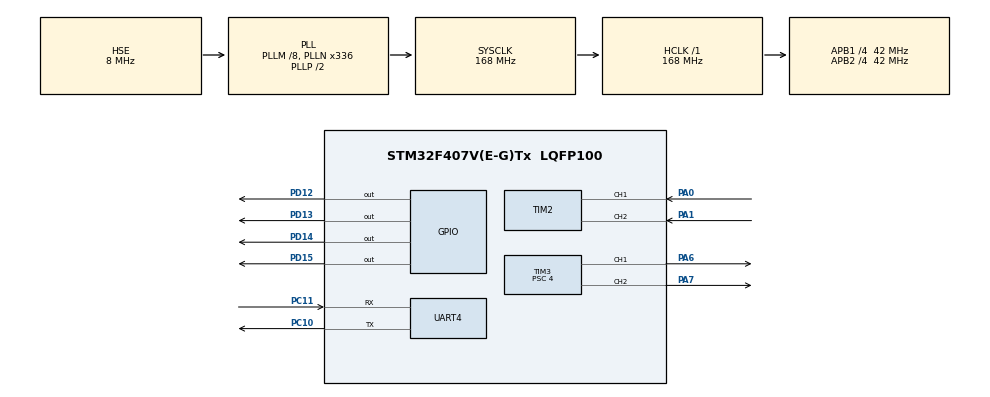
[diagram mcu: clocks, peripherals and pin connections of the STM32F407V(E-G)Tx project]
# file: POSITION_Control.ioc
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Dma.Request0=UART4_RX
Dma.UART4_RX.0.Direction=DMA_PERIPH_TO_MEMORY
Dma.UART4_RX.0.FIFOMode=DMA_FIFOMODE_DISABLE
Dma.UART4_RX.0.Instance=DMA1_Stream2
Dma.UART4_RX.0.MemDataAlignment=DMA_MDATAALIGN_BYTE
Dma.UART4_RX.0.MemInc=DMA_MINC_ENABLE
Dma.UART4_RX.0.Mode=DMA_CIRCULAR
Dma.UART4_RX.0.PeriphDataAlignment=DMA_PDATAALIGN_BYTE
Dma.UART4_RX.0.PeriphInc=DMA_PINC_DISABLE
Dma.UART4_RX.0.Priority=DMA_PRIORITY_LOW
Mcu.Family=STM32F4
Mcu.Name=STM32F407V(E-G)Tx
Mcu.Package=LQFP100
NVIC.DMA1_Stream2_IRQn=true\:0\:0\:false\:false\:true\:false\:true
NVIC.PriorityGroup=NVIC_PRIORITYGROUP_4
NVIC.TIM1_UP_TIM10_IRQn=true\:0\:0\:false\:false\:true\:true\:true
NVIC.UART4_IRQn=true\:0\:0\:false\:false\:true\:true\:true
PA0-WKUP.Signal=S_TIM2_CH1_ETR
PA1.Signal=S_TIM2_CH2
PA13.Mode=Serial_Wire
PA13.Signal=SYS_JTMS-SWDIO
PA14.Mode=Serial_Wire
PA14.Signal=SYS_JTCK-SWCLK
PA6.Signal=S_TIM3_CH1
PA7.Signal=S_TIM3_CH2
PC10.Mode=Asynchronous
PC10.Signal=UART4_TX
PC11.Mode=Asynchronous
PC11.Signal=UART4_RX
PD12.GPIO_PuPd=GPIO_PULLUP
PD12.Signal=GPIO_Output
PD13.GPIO_PuPd=GPIO_PULLUP
PD13.Signal=GPIO_Output
PD14.GPIO_PuPd=GPIO_PULLUP
PD14.Signal=GPIO_Output
PD15.GPIO_PuPd=GPIO_PULLUP
PD15.Signal=GPIO_Output
PH0-OSC_IN.Mode=HSE-External-Oscillator
PH0-OSC_IN.Signal=RCC_OSC_IN
PH1-OSC_OUT.Mode=HSE-External-Oscillator
PH1-OSC_OUT.Signal=RCC_OSC_OUT
ProjectManager.HeapSize=0x200
ProjectManager.StackSize=0x400
ProjectManager.TargetToolchain=MDK-ARM V5.27
RCC.48MHZClocksFreq_Value=84000000
RCC.AHBFreq_Value=168000000
RCC.APB1CLKDivider=RCC_HCLK_DIV4
RCC.APB1Freq_Value=42000000
RCC.APB1TimFreq_Value=84000000
RCC.APB2CLKDivider=RCC_HCLK_DIV4
RCC.APB2Freq_Value=42000000
RCC.APB2TimFreq_Value=84000000
RCC.CortexFreq_Value=168000000
RCC.HCLKFreq_Value=168000000
RCC.HSE_VALUE=8000000
RCC.HSI_VALUE=16000000
RCC.LSE_VALUE=32768
RCC.PLLM=8
RCC.PLLN=336
RCC.PLLSourceVirtual=RCC_PLLSOURCE_HSE
RCC.SYSCLKFreq_VALUE=168000000
RCC.SYSCLKSource=RCC_SYSCLKSOURCE_PLLCLK
RCC.VCOOutputFreq_Value=336000000
SH.S_TIM2_CH1_ETR.0=TIM2_CH1,Encoder_Interface
SH.S_TIM2_CH2.0=TIM2_CH2,Encoder_Interface
SH.S_TIM3_CH1.0=TIM3_CH1,PWM Generation1 CH1
SH.S_TIM3_CH2.0=TIM3_CH2,PWM Generation2 CH2
TIM1.Period=19
TIM1.Prescaler=42000
TIM2.EncoderMode=TIM_ENCODERMODE_TI12
TIM3.Channel-PWM\ Generation1\ CH1=TIM_CHANNEL_1
TIM3.Channel-PWM\ Generation2\ CH2=TIM_CHANNEL_2
TIM3.Period=999
TIM3.Prescaler=4
UART4.VirtualMode=Asynchronous
VP_TIM1_VS_ClockSourceINT.Mode=Internal
board=custom

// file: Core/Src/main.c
/* USER CODE BEGIN Header */
/**
  ******************************************************************************
  * @file           : main.c
  * @brief          : Main program body
  ******************************************************************************
  * @attention
  *
  * <h2><center>&copy; Copyright (c) 2021 STMicroelectronics.
  * All rights reserved.</center></h2>
  *
  * This software component is licensed by ST under BSD 3-Clause license,
  * the "License"; You may not use this file except in compliance with the
  * License. You may obtain a copy of the License at:
  *                        opensource.org/licenses/BSD-3-Clause
  *
  ******************************************************************************
  */
/* USER CODE END Header */
#include "main.h"

/* USER CODE BEGIN Includes */
#include "fuzzy_ctrl.h"
#include "stdio.h"
float Kp=0, Ki=0, Kd=0, set_point=0, config=0, mode = 0;
volatile int16_t count = 0;
volatile float uk = 0, position = 0;
int Value_PWM=0;
uint8_t data[30] = {0,0,0,0,0,0,0,0,0,0,0,0,0,0,0,0,0,0,0,0,0,0,0,0,0,0,0,0,0,0};

extern float data_hlt_e[9];
extern float data_hlt_e_dot[3];
//
extern float data_kp[7];
extern float data_ki[7];
extern float data_kd[7];
//
extern float rule_kp[27];
extern float rule_ki[27];
extern float rule_kd[27];
//
extern float muy_e[9];
extern float muy_e_dot[3];
//
extern float beta[27];

/* USER CODE END Includes */

TIM_HandleTypeDef htim1;
TIM_HandleTypeDef htim2;
TIM_HandleTypeDef htim3;

UART_HandleTypeDef huart4;
DMA_HandleTypeDef hdma_uart4_rx;

/* USER CODE BEGIN PV */
/* Private function prototypes -----------------------------------------------*/
#ifdef __GNUC__
 /* With GCC/RAISONANCE, small printf (option LD Linker->Libraries->Small printf
 set to 'Yes') calls __io_putchar() */
 #define PUTCHAR_PROTOTYPE int __io_putchar(int ch)
#else
 #define PUTCHAR_PROTOTYPE int fputc(int ch, FILE *f)
#endif /* __GNUC__ */

/**
 * @brief Retargets the C library printf function to the USART.
 * @param None
 * @retval None
 */
PUTCHAR_PROTOTYPE
{
 /* Place your implementation of fputc here */
 /* e.g. write a character to the USART */
 HAL_UART_Transmit(&huart4, (uint8_t *)&ch, 1, 100);

 return ch;
}
/* USER CODE END PFP */
/* USER CODE END PV */

void SystemClock_Config(void);
static void MX_GPIO_Init(void);
static void MX_DMA_Init(void);
static void MX_TIM2_Init(void);
static void MX_TIM3_Init(void);
static void MX_UART4_Init(void);
static void MX_TIM1_Init(void);
/* USER CODE BEGIN PFP */
void PWM_generate(float value);
float parameter_compute(char i, uint8_t *data);
float PID_compute(float ref, float yk, float kp, float ki, float kd);
/* USER CODE END PFP */

int main(void)
{

  /* MCU Configuration--------------------------------------------------------*/

  /* Reset of all peripherals, Initializes the Flash interface and the Systick. */
  HAL_Init();

  /* Configure the system clock */
  SystemClock_Config();

  /* Initialize all configured peripherals */
  MX_GPIO_Init();
  MX_DMA_Init();
  MX_TIM2_Init();
  MX_TIM3_Init();
  MX_UART4_Init();
  MX_TIM1_Init();
  /* USER CODE BEGIN 2 */
	HAL_TIM_Base_Start_IT(&htim1);

	HAL_TIM_Encoder_Start(&htim2, TIM_CHANNEL_1);
	HAL_TIM_Encoder_Start(&htim2, TIM_CHANNEL_2);

	HAL_TIM_PWM_Start(&htim3, TIM_CHANNEL_1);
	HAL_TIM_PWM_Start(&htim3, TIM_CHANNEL_2);
	HAL_UART_Receive_DMA(&huart4, data, 30);

	for(char i = 0; i < 30; i++) data[i] += 48;
	char temp = 0;
	double error = 0, error_dot = 0, pre_error = 0;
  /* USER CODE END 2 */

  /* Infinite loop */
  while (1)
  {

    /* USER CODE BEGIN 3 */
		temp++;
		if(temp == 20)
		{
			temp = 0;
			HAL_GPIO_TogglePin(GPIOD ,GPIO_PIN_12);
			HAL_GPIO_TogglePin(GPIOD ,GPIO_PIN_14);
		}

		count = __HAL_TIM_GET_COUNTER(&htim2);
		position = count/4.;

		if(mode == 000)
		{
			//fuzzy compute
			error = set_point - position;
			error_dot = (error - pre_error)/0.01;
			pre_error = error;
			value_hlt_e(data_hlt_e, muy_e, error);
			value_hlt_e_dot(data_hlt_e_dot, muy_e_dot, error_dot);
			find_beta(muy_e, muy_e_dot, beta);
			rule_fuzzy(rule_kp, rule_ki, rule_kd, data_kp, data_ki, data_kd);

			Kp = defuzzy_kp(beta, rule_kp);
			Ki = defuzzy_ki(beta, rule_ki);
			Kd = defuzzy_kd(beta, rule_kd);
		}
		else if(mode == 111)
		{
			Kp = parameter_compute(10, data);
			Ki = parameter_compute(15, data);
			Kd = parameter_compute(20, data);
		}
		printf("%lf|%lf|%lf|%lf|%lf\r\n",position,uk,Kp,Ki,Kd);
		HAL_Delay(10);

		PWM_generate(uk);
  }
  /* USER CODE END 3 */
}

void HAL_UART_RxCpltCallback(UART_HandleTypeDef *huart)
{
	if(huart->Instance==huart4.Instance)
	{
		HAL_GPIO_TogglePin(GPIOD ,GPIO_PIN_13);
		HAL_GPIO_TogglePin(GPIOD ,GPIO_PIN_15);
		//compute value of mode, config and set_point
		mode = parameter_compute(0, data);
		config = parameter_compute(5, data);
		set_point = parameter_compute(25, data);
	}
}

void HAL_TIM_PeriodElapsedCallback(TIM_HandleTypeDef *htim)
{
	if(htim->Instance == htim1.Instance)
	{
		if(config == 000)
		{
			uk = PID_compute(set_point, position, Kp, Ki, Kd);
		}
		else if(config == 111)
		{
			uk = 0;
		}
		else if(config == 001)
		{
			uk = 0;
			count = 0;
			__HAL_TIM_GET_COUNTER(&htim2) = 0;
		}
	}
}

float parameter_compute(char i, uint8_t *data)
{
	float value = (data[0+i]-48)*100 + (data[1+i]-48)*10 + (data[2+i]-48) + (float)(data[3+i]-48)/10 + (float)(data[4+i]-48)/100;
	return value;
}

float PID_compute(float ref, float yk, float kp, float ki, float kd)
{
	static float uk,uk1,ek,ek1,ek2, Tcs = 0.01;
	ek = ref - yk;
	uk = uk1 + kp*(ek - ek1) + ki*Tcs*(ek + ek1)/2 + kd*(ek - 2*ek1 + ek2)/Tcs;
	if(uk>999) uk = 999;
	if(uk<-999) uk = -999;
	uk1 = uk;
  ek2 = ek1;
  ek1 = ek;
	return uk;
}

void PWM_generate(float value)
{
		Value_PWM = (int)(value);
		if(Value_PWM > 0)
		{
			__HAL_TIM_SET_COMPARE(&htim3,TIM_CHANNEL_1,Value_PWM);
			__HAL_TIM_SET_COMPARE(&htim3,TIM_CHANNEL_2,0);
		}
		else if(Value_PWM < 0)
		{
			__HAL_TIM_SET_COMPARE(&htim3,TIM_CHANNEL_1,0);
			__HAL_TIM_SET_COMPARE(&htim3,TIM_CHANNEL_2,-Value_PWM);
		}
		else
		{
			__HAL_TIM_SET_COMPARE(&htim3,TIM_CHANNEL_1,0);
			__HAL_TIM_SET_COMPARE(&htim3,TIM_CHANNEL_2,0);
		}
}

void SystemClock_Config(void)
{
  RCC_OscInitTypeDef RCC_OscInitStruct = {0};
  RCC_ClkInitTypeDef RCC_ClkInitStruct = {0};

  /** Configure the main internal regulator output voltage
  */
  __HAL_RCC_PWR_CLK_ENABLE();
  __HAL_PWR_VOLTAGESCALING_CONFIG(PWR_REGULATOR_VOLTAGE_SCALE1);
  /** Initializes the RCC Oscillators according to the specified parameters
  * in the RCC_OscInitTypeDef structure.
  */
  RCC_OscInitStruct.OscillatorType = RCC_OSCILLATORTYPE_HSE;
  RCC_OscInitStruct.HSEState = RCC_HSE_ON;
  RCC_OscInitStruct.PLL.PLLState = RCC_PLL_ON;
  RCC_OscInitStruct.PLL.PLLSource = RCC_PLLSOURCE_HSE;
  RCC_OscInitStruct.PLL.PLLM = 8;
  RCC_OscInitStruct.PLL.PLLN = 336;
  RCC_OscInitStruct.PLL.PLLP = RCC_PLLP_DIV2;
  RCC_OscInitStruct.PLL.PLLQ = 4;
  if (HAL_RCC_OscConfig(&RCC_OscInitStruct) != HAL_OK)
  {
    Error_Handler();
  }
  /** Initializes the CPU, AHB and APB buses clocks
  */
  RCC_ClkInitStruct.ClockType = RCC_CLOCKTYPE_HCLK|RCC_CLOCKTYPE_SYSCLK
                              |RCC_CLOCKTYPE_PCLK1|RCC_CLOCKTYPE_PCLK2;
  RCC_ClkInitStruct.SYSCLKSource = RCC_SYSCLKSOURCE_PLLCLK;
  RCC_ClkInitStruct.AHBCLKDivider = RCC_SYSCLK_DIV1;
  RCC_ClkInitStruct.APB1CLKDivider = RCC_HCLK_DIV4;
  RCC_ClkInitStruct.APB2CLKDivider = RCC_HCLK_DIV4;

  if (HAL_RCC_ClockConfig(&RCC_ClkInitStruct, FLASH_LATENCY_5) != HAL_OK)
  {
    Error_Handler();
  }
}

static void MX_TIM1_Init(void)
{

  TIM_ClockConfigTypeDef sClockSourceConfig = {0};
  TIM_MasterConfigTypeDef sMasterConfig = {0};

  htim1.Instance = TIM1;
  htim1.Init.Prescaler = 42000;
  htim1.Init.CounterMode = TIM_COUNTERMODE_UP;
  htim1.Init.Period = 19;
  htim1.Init.ClockDivision = TIM_CLOCKDIVISION_DIV1;
  htim1.Init.RepetitionCounter = 0;
  htim1.Init.AutoReloadPreload = TIM_AUTORELOAD_PRELOAD_DISABLE;
  if (HAL_TIM_Base_Init(&htim1) != HAL_OK)
  {
    Error_Handler();
  }
  sClockSourceConfig.ClockSource = TIM_CLOCKSOURCE_INTERNAL;
  if (HAL_TIM_ConfigClockSource(&htim1, &sClockSourceConfig) != HAL_OK)
  {
    Error_Handler();
  }
  sMasterConfig.MasterOutputTrigger = TIM_TRGO_RESET;
  sMasterConfig.MasterSlaveMode = TIM_MASTERSLAVEMODE_DISABLE;
  if (HAL_TIMEx_MasterConfigSynchronization(&htim1, &sMasterConfig) != HAL_OK)
  {
    Error_Handler();
  }

}

static void MX_TIM2_Init(void)
{

  TIM_Encoder_InitTypeDef sConfig = {0};
  TIM_MasterConfigTypeDef sMasterConfig = {0};

  htim2.Instance = TIM2;
  htim2.Init.Prescaler = 0;
  htim2.Init.CounterMode = TIM_COUNTERMODE_UP;
  htim2.Init.Period = 4294967295;
  htim2.Init.ClockDivision = TIM_CLOCKDIVISION_DIV1;
  htim2.Init.AutoReloadPreload = TIM_AUTORELOAD_PRELOAD_DISABLE;
  sConfig.EncoderMode = TIM_ENCODERMODE_TI12;
  sConfig.IC1Polarity = TIM_ICPOLARITY_RISING;
  sConfig.IC1Selection = TIM_ICSELECTION_DIRECTTI;
  sConfig.IC1Prescaler = TIM_ICPSC_DIV1;
  sConfig.IC1Filter = 0;
  sConfig.IC2Polarity = TIM_ICPOLARITY_RISING;
  sConfig.IC2Selection = TIM_ICSELECTION_DIRECTTI;
  sConfig.IC2Prescaler = TIM_ICPSC_DIV1;
  sConfig.IC2Filter = 0;
  if (HAL_TIM_Encoder_Init(&htim2, &sConfig) != HAL_OK)
  {
    Error_Handler();
  }
  sMasterConfig.MasterOutputTrigger = TIM_TRGO_RESET;
  sMasterConfig.MasterSlaveMode = TIM_MASTERSLAVEMODE_DISABLE;
  if (HAL_TIMEx_MasterConfigSynchronization(&htim2, &sMasterConfig) != HAL_OK)
  {
    Error_Handler();
  }

}

static void MX_TIM3_Init(void)
{

  TIM_MasterConfigTypeDef sMasterConfig = {0};
  TIM_OC_InitTypeDef sConfigOC = {0};

  htim3.Instance = TIM3;
  htim3.Init.Prescaler = 4;
  htim3.Init.CounterMode = TIM_COUNTERMODE_UP;
  htim3.Init.Period = 999;
  htim3.Init.ClockDivision = TIM_CLOCKDIVISION_DIV1;
  htim3.Init.AutoReloadPreload = TIM_AUTORELOAD_PRELOAD_DISABLE;
  if (HAL_TIM_PWM_Init(&htim3) != HAL_OK)
  {
    Error_Handler();
  }
  sMasterConfig.MasterOutputTrigger = TIM_TRGO_RESET;
  sMasterConfig.MasterSlaveMode = TIM_MASTERSLAVEMODE_DISABLE;
  if (HAL_TIMEx_MasterConfigSynchronization(&htim3, &sMasterConfig) != HAL_OK)
  {
    Error_Handler();
  }
  sConfigOC.OCMode = TIM_OCMODE_PWM1;
  sConfigOC.Pulse = 0;
  sConfigOC.OCPolarity = TIM_OCPOLARITY_HIGH;
  sConfigOC.OCFastMode = TIM_OCFAST_DISABLE;
  if (HAL_TIM_PWM_ConfigChannel(&htim3, &sConfigOC, TIM_CHANNEL_1) != HAL_OK)
  {
    Error_Handler();
  }
  if (HAL_TIM_PWM_ConfigChannel(&htim3, &sConfigOC, TIM_CHANNEL_2) != HAL_OK)
  {
    Error_Handler();
  }
  HAL_TIM_MspPostInit(&htim3);

}

static void MX_UART4_Init(void)
{

  huart4.Instance = UART4;
  huart4.Init.BaudRate = 115200;
  huart4.Init.WordLength = UART_WORDLENGTH_8B;
  huart4.Init.StopBits = UART_STOPBITS_1;
  huart4.Init.Parity = UART_PARITY_NONE;
  huart4.Init.Mode = UART_MODE_TX_RX;
  huart4.Init.HwFlowCtl = UART_HWCONTROL_NONE;
  huart4.Init.OverSampling = UART_OVERSAMPLING_16;
  if (HAL_UART_Init(&huart4) != HAL_OK)
  {
    Error_Handler();
  }

}

static void MX_DMA_Init(void)
{

  /* DMA controller clock enable */
  __HAL_RCC_DMA1_CLK_ENABLE();

  /* DMA interrupt init */
  /* DMA1_Stream2_IRQn interrupt configuration */
  HAL_NVIC_SetPriority(DMA1_Stream2_IRQn, 0, 0);
  HAL_NVIC_EnableIRQ(DMA1_Stream2_IRQn);

}

static void MX_GPIO_Init(void)
{
  GPIO_InitTypeDef GPIO_InitStruct = {0};

  /* GPIO Ports Clock Enable */
  __HAL_RCC_GPIOH_CLK_ENABLE();
  __HAL_RCC_GPIOA_CLK_ENABLE();
  __HAL_RCC_GPIOD_CLK_ENABLE();
  __HAL_RCC_GPIOC_CLK_ENABLE();

  /*Configure GPIO pin Output Level */
  HAL_GPIO_WritePin(GPIOD, GPIO_PIN_12|GPIO_PIN_13|GPIO_PIN_14|GPIO_PIN_15, GPIO_PIN_RESET);

  /*Configure GPIO pins : PD12 PD13 PD14 PD15 */
  GPIO_InitStruct.Pin = GPIO_PIN_12|GPIO_PIN_13|GPIO_PIN_14|GPIO_PIN_15;
  GPIO_InitStruct.Mode = GPIO_MODE_OUTPUT_PP;
  GPIO_InitStruct.Pull = GPIO_PULLUP;
  GPIO_InitStruct.Speed = GPIO_SPEED_FREQ_LOW;
  HAL_GPIO_Init(GPIOD, &GPIO_InitStruct);

}

void Error_Handler(void)
{
  __disable_irq();
  while (1)
  {
  }
}

/************************ (C) COPYRIGHT STMicroelectronics *****END OF FILE****/
